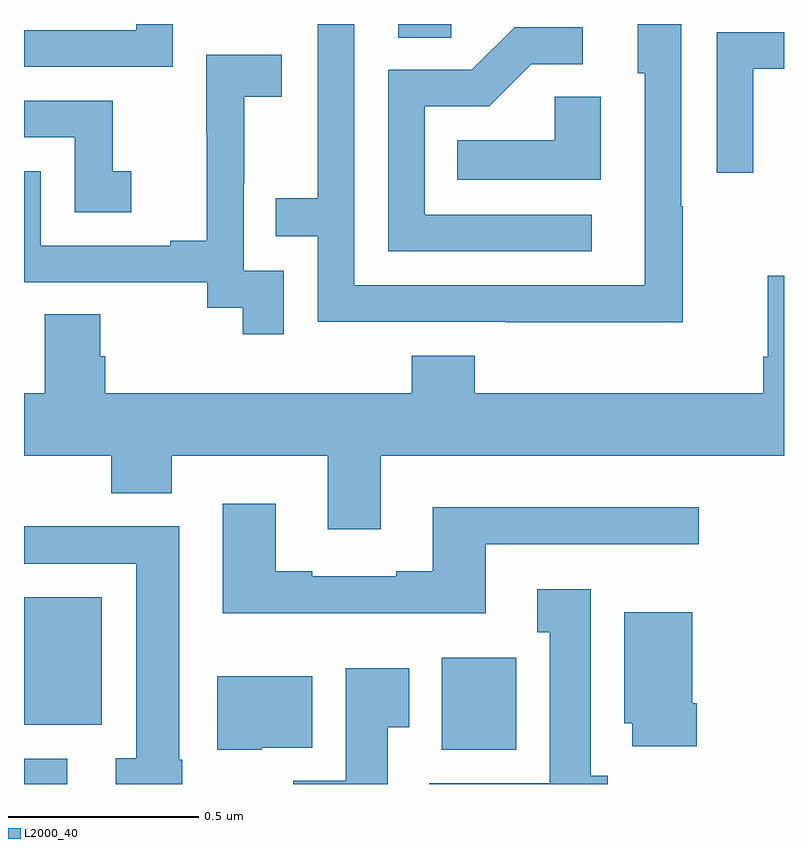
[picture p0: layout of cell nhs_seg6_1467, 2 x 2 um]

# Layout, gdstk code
import gdstk
lib = gdstk.Library(unit=1e-6, precision=1e-09)
def R(c, l, rs):  # rectangles x0, y0, x1, y1
    for r in rs: c.add(gdstk.rectangle(r[:2], r[2:], *l))
def P(c, l, *ps):  # polygons
    for p in ps: c.add(gdstk.Polygon(p, *l))
L2000_40 = (2000, 40)

nhs_seg6_1467 = lib.new_cell('nhs_seg6_1467')
R(nhs_seg6_1467, L2000_40, [(130,918.5,130.114,918.567), (131.099,918.59,131.296,918.832), (130,918.656,130.204,918.991), (130.985,920.464,131.124,920.5)])
P(nhs_seg6_1467, L2000_40, [(130.392,920.5),(130.295,920.5),(130.295,920.484),(130,920.484),(130,920.388),(130.392,920.388)],
  [(131.733,920.021),(131.73,920.021),(131.73,920.5),(131.615,920.5),(131.615,920.37),(131.634,920.37),(131.634,919.812),(130.869,919.812),(130.869,920.5),(130.773,920.5),(130.773,920.042),(130.663,920.042),(130.663,919.941),(130.773,919.941),(130.773,919.716),(131.269,919.716),(131.269,919.715),(131.733,919.715)],
  [(131.494,919.998),(131.055,919.998),(131.055,920.283),(131.224,920.283),(131.335,920.394),(131.47,920.394),(131.47,920.492),(131.291,920.492),(131.178,920.379),(130.959,920.379),(130.959,919.902),(131.494,919.902)],
  [(131.919,920.382),(132,920.382),(132,920.478),(131.823,920.478),(131.823,920.109),(131.919,920.109)],
  [(130.683,919.851),(130.578,919.851),(130.578,920.081),(130.58,920.081),(130.58,920.309),(130.678,920.309),(130.678,920.419),(130.48,920.419),(130.48,920.213),(130.481,920.213),(130.481,919.93),(130.385,919.93),(130.385,919.917),(130.044,919.917),(130.044,920.112),(130,920.112),(130,919.821),(130.482,919.821),(130.482,919.753),(130.575,919.753),(130.575,919.683),(130.683,919.683)],
  [(131.518,920.309),(131.397,920.309),(131.397,920.194),(131.14,920.194),(131.14,920.09),(131.518,920.09)],
  [(130.282,920.113),(130.233,920.113),(130.233,920.298),(130,920.298),(130,920.202),(130.134,920.202),(130.134,920.004),(130.282,920.004)],
  [(132,919.837),(131.957,919.837),(131.957,919.624),(131.945,919.624),(131.945,919.528),(131.186,919.528),(131.186,919.627),(131.021,919.627),(131.021,919.528),(130.214,919.528),(130.214,919.626),(130.201,919.626),(130.201,919.736),(130.054,919.736),(130.054,919.528),(130,919.528),(130,919.364),(130.229,919.364),(130.229,919.265),(130.389,919.265),(130.389,919.364),(130.799,919.364),(130.799,919.17),(130.939,919.17),(130.939,919.364),(132,919.364)],
  [(131.215,919.131),(131.776,919.131),(131.776,919.228),(131.075,919.228),(131.075,919.06),(130.979,919.06),(130.979,919.047),(130.759,919.047),(130.759,919.06),(130.663,919.06),(130.663,919.237),(130.523,919.237),(130.523,918.95),(131.215,918.95)],
  [(130.416,918.564),(130.408,918.564),(130.408,919.178),(130,919.178),(130,919.08),(130.295,919.08),(130.295,918.568),(130.241,918.568),(130.241,918.5),(130.416,918.5)],
  [(131.536,918.522),(131.491,918.522),(131.491,919.012),(131.351,919.012),(131.351,918.899),(131.384,918.899),(131.384,918.502),(131.067,918.502),(131.067,918.5),(131.536,918.5)],
  [(131.771,918.712),(131.758,918.712),(131.758,918.952),(131.579,918.952),(131.579,918.66),(131.6,918.66),(131.6,918.6),(131.771,918.6)],
  [(130.957,918.649),(131.014,918.649),(131.014,918.805),(130.847,918.805),(130.847,918.508),(130.708,918.508),(130.708,918.5),(130.957,918.5)],
  [(130.626,918.596),(130.759,918.596),(130.759,918.784),(130.508,918.784),(130.508,918.59),(130.626,918.59)])

lib.write_gds('nhs_seg6_1467.gds')
